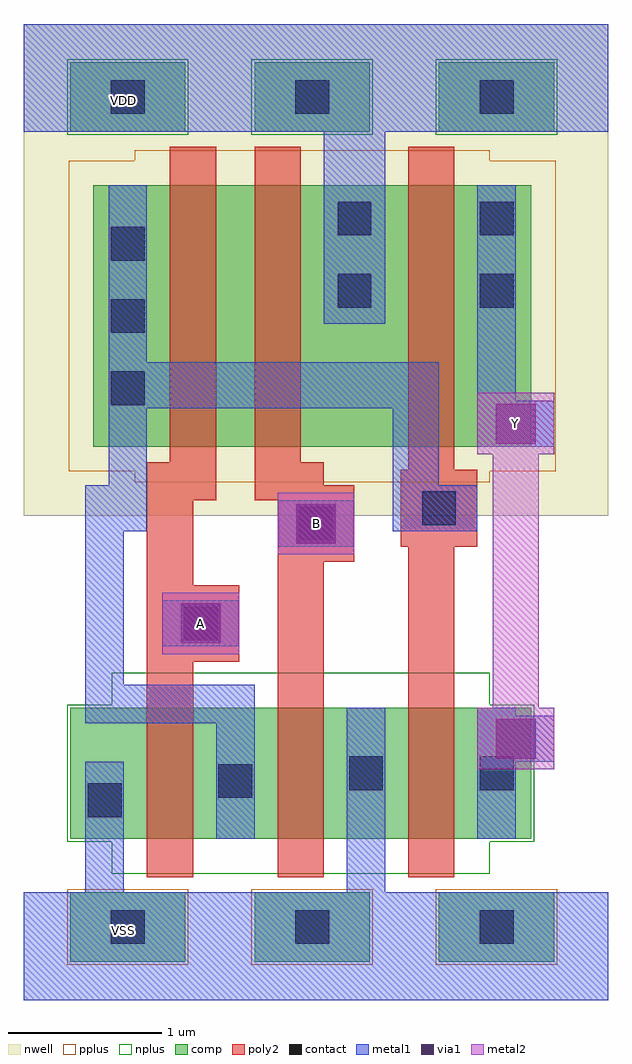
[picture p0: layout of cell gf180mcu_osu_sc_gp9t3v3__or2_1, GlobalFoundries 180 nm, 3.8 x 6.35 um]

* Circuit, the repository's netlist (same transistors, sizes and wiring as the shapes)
* Copyright 2022 Google LLC
*
* Licensed under the Apache License, Version 2.0 (the "License");
* you may not use this file except in compliance with the License.
* You may obtain a copy of the License at
*
*      http://www.apache.org/licenses/LICENSE-2.0
*
* Unless required by applicable law or agreed to in writing, software
* distributed under the License is distributed on an "AS IS" BASIS,
* WITHOUT WARRANTIES OR CONDITIONS OF ANY KIND, either express or implied.
* See the License for the specific language governing permissions and
* limitations under the License.

.option scale=0.05u

.subckt gf180mcu_osu_sc_gp9t3v3__or2_1 B A Y
X0 VDD B a_25_70 VDD pmos_3p3 w=34 l=6
X1 Y a_9_70 VSS VSS nmos_3p3 w=17 l=6
X2 a_9_70 A VSS VSS nmos_3p3 w=17 l=6
X3 a_25_70 A a_9_70 VDD pmos_3p3 w=34 l=6
X4 Y a_9_70 VDD VDD pmos_3p3 w=34 l=6
X5 VSS B a_9_70 VSS nmos_3p3 w=17 l=6
.ends

** hspice subcircuit dictionary

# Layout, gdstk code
import gdstk
lib = gdstk.Library(unit=1e-6, precision=1e-09)
def R(c, l, rs):  # rectangles x0, y0, x1, y1
    for r in rs: c.add(gdstk.rectangle(r[:2], r[2:], *l))
def A(c, l, x, y, w, h, nx, ny, dx, dy):  # array of equal rectangles
    R(c, l, [(x+i*dx, y+j*dy, x+i*dx+w, y+j*dy+h) for i in range(nx) for j in range(ny)])
nwell = (21, 0)
comp = (22, 0)
poly2 = (30, 0)
pplus = (31, 0)
nplus = (32, 0)
contact = (33, 0)
metal1 = (34, 0)
via1 = (35, 0)
metal2 = (36, 0)

gf180mcu_osu_sc_gp9t3v3_ = lib.new_cell('gf180mcu_osu_sc_gp9t3v3__or2_1')
R(gf180mcu_osu_sc_gp9t3v3_, nwell, [(0,3.15,3.8,6.35)])
A(gf180mcu_osu_sc_gp9t3v3_, comp, 0.3, 0.25, 0.75, 0.45, 3, 2, 1.2, 5.4)
R(gf180mcu_osu_sc_gp9t3v3_, comp, [(0.3,1.05,3.3,1.9), (0.45,3.6,3.3,5.3)])
R(gf180mcu_osu_sc_gp9t3v3_, poly2, [(0.8,0.8,1.1,2.2), (1.65,0.8,1.95,2.85), (2.5,0.8,2.8,2.95), (0.8,2.2,1.4,2.7), (0.8,2.7,1.1,3.25), (1.65,2.85,2.15,3.25), (2.45,2.95,2.95,3.45), (0.8,3.25,1.25,3.5), (1.5,3.25,2.15,3.35), (1.5,3.35,1.95,3.5), (2.5,3.45,2.8,5.55), (0.95,3.5,1.25,5.55), (1.5,3.5,1.8,5.55)])
A(gf180mcu_osu_sc_gp9t3v3_, pplus, 0.28, 0.23, 0.79, 0.49, 3, 1, 1.2, 0)
R(gf180mcu_osu_sc_gp9t3v3_, pplus, [(0.72,3.37,3.03,3.44), (0.29,3.44,3.46,5.46), (0.72,5.46,3.03,5.53)])
A(gf180mcu_osu_sc_gp9t3v3_, nplus, 0.28, 5.63, 0.79, 0.49, 3, 1, 1.2, 0)
R(gf180mcu_osu_sc_gp9t3v3_, nplus, [(0.57,0.82,3.03,1.03), (0.28,1.03,3.32,1.92), (0.57,1.92,3.03,2.13)])
A(gf180mcu_osu_sc_gp9t3v3_, contact, 0.565, 0.365, 0.22, 0.22, 3, 2, 1.2, 5.4)
A(gf180mcu_osu_sc_gp9t3v3_, contact, 0.565, 3.87, 0.22, 0.22, 1, 3, 0, 0.47)
R(gf180mcu_osu_sc_gp9t3v3_, contact, [(0.415,1.19,0.635,1.41), (1.265,1.315,1.485,1.535), (2.115,1.365,2.335,1.585), (2.965,1.365,3.185,1.585), (1.04,2.34,1.26,2.56), (1.79,2.99,2.01,3.21), (2.59,3.09,2.81,3.31), (2.04,4.505,2.26,4.725), (2.965,4.505,3.185,4.725), (2.04,4.975,2.26,5.195), (2.965,4.975,3.185,5.195)])
R(gf180mcu_osu_sc_gp9t3v3_, metal1, [(0,0,3.8,0.7), (0.4,0.7,0.65,1.55), (2.1,0.7,2.35,1.9), (1.25,1.05,1.5,1.8), (2.95,1.05,3.2,1.55), (2.95,1.55,3.45,1.85), (0.4,1.8,1.5,2.05), (2.95,1.85,3.2,1.9), (0.4,2.05,0.65,3.05), (0.9,2.3,1.4,2.6), (1.65,2.95,2.15,3.25), (0.4,3.05,0.8,3.35), (2.4,3.05,2.95,3.35), (0.55,3.35,0.8,3.85), (2.4,3.35,2.7,3.85), (2.95,3.6,3.45,3.9), (0.55,3.85,2.7,4.15), (2.95,3.9,3.2,5.3), (0.55,4.15,0.8,5.3), (1.95,4.4,2.35,5.65), (0,5.65,3.8,6.35)])
R(gf180mcu_osu_sc_gp9t3v3_, via1, [(3.07,1.57,3.33,1.83), (1.02,2.32,1.28,2.58), (1.77,2.97,2.03,3.23), (3.07,3.62,3.33,3.88)])
R(gf180mcu_osu_sc_gp9t3v3_, metal2, [(2.95,1.5,3.45,1.9), (3.05,1.9,3.35,3.55), (0.9,2.25,1.4,2.65), (1.65,2.9,2.15,3.3), (2.95,3.55,3.45,3.95)])
gf180mcu_osu_sc_gp9t3v3_.add(gdstk.Label('A', (1.15,2.45), layer=36, texttype=10))
gf180mcu_osu_sc_gp9t3v3_.add(gdstk.Label('B', (1.9,3.1), layer=36, texttype=10))
gf180mcu_osu_sc_gp9t3v3_.add(gdstk.Label('Y', (3.2,3.75), layer=36, texttype=10))
gf180mcu_osu_sc_gp9t3v3_.add(gdstk.Label('VDD', (0.65,5.85), layer=34, texttype=10))
gf180mcu_osu_sc_gp9t3v3_.add(gdstk.Label('VSS', (0.65,0.45), layer=34, texttype=10))

lib.write_gds('gf180mcu_osu_sc_gp9t3v3__or2_1.gds')
